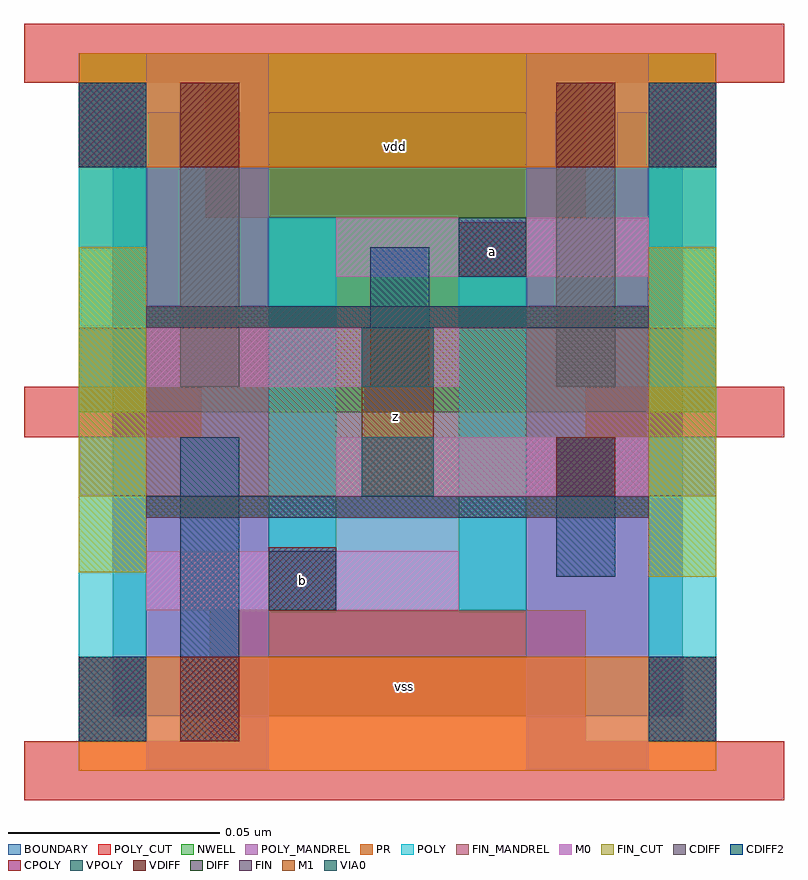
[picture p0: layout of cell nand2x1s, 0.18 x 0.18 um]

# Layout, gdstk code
import gdstk
lib = gdstk.Library(unit=1e-6, precision=1e-11)
def R(c, l, rs):  # rectangles x0, y0, x1, y1
    for r in rs: c.add(gdstk.rectangle(r[:2], r[2:], *l))
BOUNDARY = (1, 0)
NWELL = (5, 1)
DIFF = (7, 7)
FIN = (7, 8)
FIN_MANDREL = (7, 10)
FIN_CUT = (7, 50)
POLY = (9, 7)
POLY_MANDREL = (9, 10)
POLY_CUT = (9, 50)
CPOLY = (9, 100)
VPOLY = (9, 135)
VDIFF = (10, 0)
CDIFF = (10, 1)
CDIFF2 = (10, 2)
VIA0 = (20, 0)
M0 = (30, 0)
PR = (30, 1)
M1 = (50, 0)

nand2x1s = lib.new_cell('nand2x1s')
R(nand2x1s, BOUNDARY, [(-0.008,0.013,0.127,0.156)])
R(nand2x1s, NWELL, [(-0.016,0.085,0.135,0.17)])
R(nand2x1s, DIFF, [(0,0.06,0.119,0.065), (0,0.105,0.119,0.11)])
R(nand2x1s, FIN, [(0,0.06,0.119,0.065), (0,0.105,0.119,0.11)])
R(nand2x1s, FIN_MANDREL, [(-0.016,0.065,0.135,0.105)])
R(nand2x1s, FIN_CUT, [(0.119,0.046,0.135,0.124), (-0.016,0.047,0,0.124)])
R(nand2x1s, POLY, [(-0.016,0.007,0,0.079), (0.119,0.007,0.135,0.079), (0.029,0.038,0.045,0.131), (0.074,0.038,0.09,0.131), (-0.016,0.091,0,0.163), (0.119,0.091,0.135,0.163)])
R(nand2x1s, POLY_MANDREL, [(0,0,0.029,0.17), (0.09,0,0.119,0.17)])
R(nand2x1s, POLY_CUT, [(-0.029,-0.007,0.151,0.007), (0.015,0,0.104,0.038), (-0.029,0.079,0.013,0.091), (0.104,0.079,0.151,0.091), (0.014,0.131,0.104,0.17), (-0.029,0.163,0.151,0.177)])
R(nand2x1s, CPOLY, [(-0.016,0.007,0,0.027), (0.119,0.007,0.135,0.027), (0.029,0.038,0.045,0.053), (0.074,0.117,0.09,0.13), (-0.016,0.143,0,0.163), (0.119,0.143,0.135,0.163)])
R(nand2x1s, VPOLY, [(-0.016,0.007,0,0.027), (0.119,0.007,0.135,0.027), (0.029,0.038,0.045,0.052), (0.074,0.117,0.09,0.131), (-0.016,0.143,0,0.163), (0.119,0.143,0.135,0.163)])
R(nand2x1s, VDIFF, [(0.008,0.007,0.022,0.027), (0.097,0.065,0.111,0.079), (0.053,0.091,0.067,0.105), (0.008,0.143,0.022,0.163), (0.097,0.143,0.111,0.163)])
R(nand2x1s, CDIFF, [(0.008,0.091,0.022,0.163), (0.097,0.091,0.111,0.163)])
R(nand2x1s, CDIFF2, [(0.008,0.007,0.022,0.079), (0.097,0.046,0.111,0.079), (0.053,0.091,0.067,0.124)])
R(nand2x1s, VIA0, [(0.051,0.065,0.068,0.079), (0.051,0.091,0.068,0.105)])
R(nand2x1s, M0, [(0,0.038,0.074,0.052), (0.045,0.065,0.119,0.079), (0,0.091,0.074,0.105), (0.045,0.117,0.119,0.131)])
R(nand2x1s, PR, [(-0.016,0,0.135,0.027), (-0.016,0.143,0.135,0.17)])
R(nand2x1s, M1, [(0.051,0.065,0.068,0.105)])
nand2x1s.add(gdstk.Label('vss', (0.061,0.02), layer=30, texttype=2))
nand2x1s.add(gdstk.Label('vdd', (0.059,0.148), layer=30, texttype=2))
nand2x1s.add(gdstk.Label('vss', (0.061,0.02), layer=30, texttype=12))
nand2x1s.add(gdstk.Label('a', (0.082,0.123), layer=30, texttype=12))
nand2x1s.add(gdstk.Label('b', (0.037,0.045), layer=30, texttype=12))
nand2x1s.add(gdstk.Label('vdd', (0.059,0.148), layer=30, texttype=12))
nand2x1s.add(gdstk.Label('z', (0.059,0.084), layer=50, texttype=12))

lib.write_gds('nand2x1s.gds')
